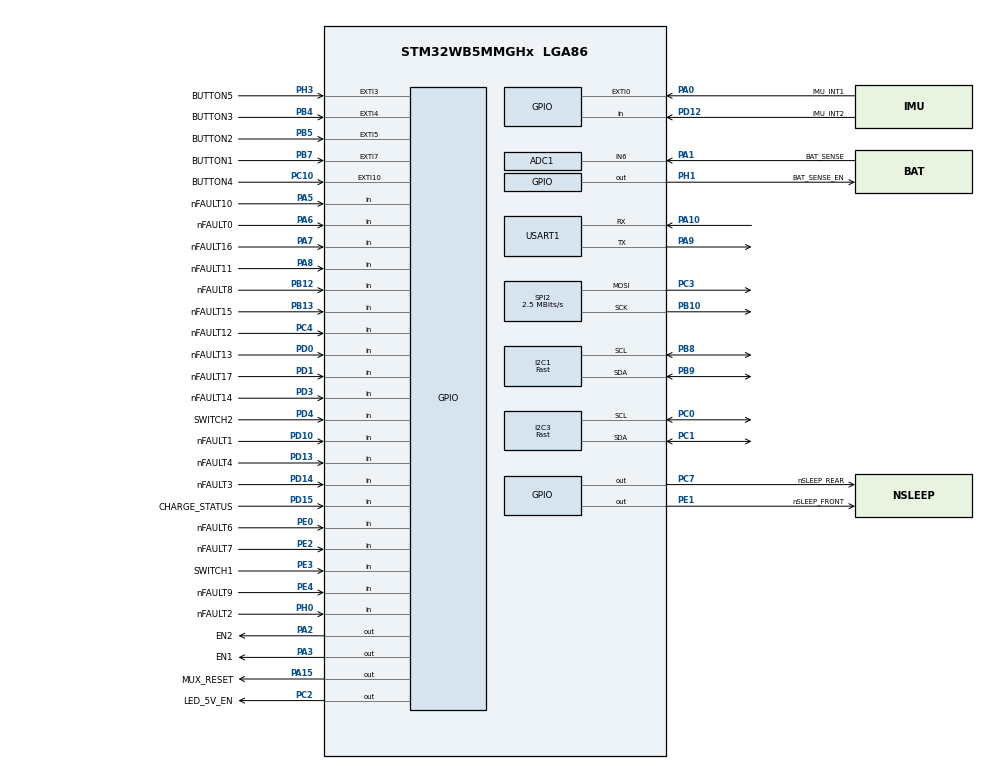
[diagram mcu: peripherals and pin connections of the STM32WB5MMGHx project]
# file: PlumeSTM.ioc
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ADC1.Channel-1\#ChannelRegularConversion=ADC_CHANNEL_6
ADC1.NbrOfConversionFlag=1
ADC1.OffsetNumber-1\#ChannelRegularConversion=ADC_OFFSET_NONE
ADC1.Rank-1\#ChannelRegularConversion=1
ADC1.SamplingTime-1\#ChannelRegularConversion=ADC_SAMPLETIME_47CYCLES_5
ADC1.master=1
Dma.Request0=SPI2_TX
Dma.Request1=USART1_RX
Dma.Request2=USART1_TX
Dma.SPI2_TX.0.Direction=DMA_MEMORY_TO_PERIPH
Dma.SPI2_TX.0.EventEnable=DISABLE
Dma.SPI2_TX.0.Instance=DMA1_Channel1
Dma.SPI2_TX.0.MemDataAlignment=DMA_MDATAALIGN_BYTE
Dma.SPI2_TX.0.MemInc=DMA_MINC_ENABLE
Dma.SPI2_TX.0.Mode=DMA_NORMAL
Dma.SPI2_TX.0.PeriphDataAlignment=DMA_PDATAALIGN_BYTE
Dma.SPI2_TX.0.PeriphInc=DMA_PINC_DISABLE
Dma.SPI2_TX.0.Polarity=HAL_DMAMUX_REQ_GEN_RISING
Dma.SPI2_TX.0.Priority=DMA_PRIORITY_LOW
Dma.SPI2_TX.0.RequestNumber=1
Dma.SPI2_TX.0.SignalID=NONE
Dma.SPI2_TX.0.SyncEnable=DISABLE
Dma.SPI2_TX.0.SyncPolarity=HAL_DMAMUX_SYNC_NO_EVENT
Dma.SPI2_TX.0.SyncRequestNumber=1
Dma.SPI2_TX.0.SyncSignalID=NONE
Dma.USART1_RX.1.Direction=DMA_PERIPH_TO_MEMORY
Dma.USART1_RX.1.EventEnable=DISABLE
Dma.USART1_RX.1.Instance=DMA1_Channel2
Dma.USART1_RX.1.MemDataAlignment=DMA_MDATAALIGN_BYTE
Dma.USART1_RX.1.MemInc=DMA_MINC_ENABLE
Dma.USART1_RX.1.Mode=DMA_CIRCULAR
Dma.USART1_RX.1.PeriphDataAlignment=DMA_PDATAALIGN_BYTE
Dma.USART1_RX.1.PeriphInc=DMA_PINC_DISABLE
Dma.USART1_RX.1.Polarity=HAL_DMAMUX_REQ_GEN_RISING
Dma.USART1_RX.1.Priority=DMA_PRIORITY_LOW
Dma.USART1_RX.1.RequestNumber=1
Dma.USART1_RX.1.SignalID=NONE
Dma.USART1_RX.1.SyncEnable=DISABLE
Dma.USART1_RX.1.SyncPolarity=HAL_DMAMUX_SYNC_NO_EVENT
Dma.USART1_RX.1.SyncRequestNumber=1
Dma.USART1_RX.1.SyncSignalID=NONE
Dma.USART1_TX.2.Direction=DMA_MEMORY_TO_PERIPH
Dma.USART1_TX.2.EventEnable=DISABLE
Dma.USART1_TX.2.Instance=DMA1_Channel3
Dma.USART1_TX.2.MemDataAlignment=DMA_MDATAALIGN_BYTE
Dma.USART1_TX.2.MemInc=DMA_MINC_ENABLE
Dma.USART1_TX.2.Mode=DMA_NORMAL
Dma.USART1_TX.2.PeriphDataAlignment=DMA_PDATAALIGN_BYTE
Dma.USART1_TX.2.PeriphInc=DMA_PINC_DISABLE
Dma.USART1_TX.2.Polarity=HAL_DMAMUX_REQ_GEN_RISING
Dma.USART1_TX.2.Priority=DMA_PRIORITY_LOW
Dma.USART1_TX.2.RequestNumber=1
Dma.USART1_TX.2.SignalID=NONE
Dma.USART1_TX.2.SyncEnable=DISABLE
Dma.USART1_TX.2.SyncPolarity=HAL_DMAMUX_SYNC_NO_EVENT
Dma.USART1_TX.2.SyncRequestNumber=1
Dma.USART1_TX.2.SyncSignalID=NONE
I2C1.I2C_Speed_Mode=I2C_Fast
I2C1.Timing=0x0070133F
I2C3.I2C_Speed_Mode=I2C_Fast
I2C3.Timing=0x0070133F
Mcu.Family=STM32WB
Mcu.Name=STM32WB5MMGHx
Mcu.Package=LGA86
NVIC.DMA1_Channel1_IRQn=true\:0\:0\:false\:false\:true\:false\:true\:true
NVIC.DMA1_Channel2_IRQn=true\:0\:0\:false\:false\:true\:false\:true\:true
NVIC.DMA1_Channel3_IRQn=true\:0\:0\:false\:false\:true\:false\:true\:true
NVIC.EXTI0_IRQn=true\:0\:0\:false\:false\:true\:true\:true\:true
NVIC.EXTI15_10_IRQn=true\:0\:0\:false\:false\:true\:true\:true\:true
NVIC.EXTI3_IRQn=true\:0\:0\:false\:false\:true\:true\:true\:true
NVIC.EXTI4_IRQn=true\:0\:0\:false\:false\:true\:true\:true\:true
NVIC.EXTI9_5_IRQn=true\:0\:0\:false\:false\:true\:true\:true\:true
NVIC.HSEM_IRQn=true\:0\:0\:false\:false\:true\:false\:true\:true
NVIC.IPCC_C1_RX_IRQn=true\:0\:0\:false\:false\:true\:true\:true\:true
NVIC.IPCC_C1_TX_IRQn=true\:0\:0\:false\:false\:true\:true\:true\:true
NVIC.PriorityGroup=NVIC_PRIORITYGROUP_4
NVIC.RTC_WKUP_IRQn=true\:0\:0\:false\:false\:true\:true\:true\:true
NVIC.SPI2_IRQn=true\:0\:0\:false\:false\:true\:true\:true\:true
NVIC.TIM1_UP_TIM16_IRQn=true\:0\:0\:false\:false\:true\:true\:true\:true
NVIC.TIM2_IRQn=true\:0\:0\:false\:false\:true\:true\:true\:true
NVIC.USART1_IRQn=true\:0\:0\:false\:false\:true\:true\:true\:true
PA0.GPIO_Label=IMU_INT1
PA0.GPIO_PuPd=GPIO_PULLDOWN
PA0.Signal=GPXTI0
PA1.GPIO_Label=BAT_SENSE
PA1.Signal=ADCx_IN6
PA10.GPIO_Speed=GPIO_SPEED_FREQ_HIGH
PA10.Mode=Asynchronous
PA10.Signal=USART1_RX
PA13.Mode=Trace_Asynchronous_SW
PA13.Signal=SYS_JTMS-SWDIO
PA14.Mode=Trace_Asynchronous_SW
PA14.Signal=SYS_JTCK-SWCLK
PA15.GPIO_Label=MUX_RESET
PA15.PinState=GPIO_PIN_SET
PA15.Signal=GPIO_Output
PA2.GPIO_Label=EN2
PA2.Signal=GPIO_Output
PA3.GPIO_Label=EN1
PA3.Signal=GPIO_Output
PA5.GPIO_Label=nFAULT10
PA5.GPIO_PuPd=GPIO_PULLUP
PA5.Signal=GPIO_Input
PA6.GPIO_Label=nFAULT0
PA6.GPIO_PuPd=GPIO_PULLUP
PA6.Signal=GPIO_Input
PA7.GPIO_Label=nFAULT16
PA7.GPIO_PuPd=GPIO_PULLUP
PA7.Signal=GPIO_Input
PA8.GPIO_Label=nFAULT11
PA8.GPIO_PuPd=GPIO_PULLUP
PA8.Signal=GPIO_Input
PA9.GPIO_Speed=GPIO_SPEED_FREQ_HIGH
PA9.Mode=Asynchronous
PA9.Signal=USART1_TX
PB10.Mode=TX_Only_Simplex_Unidirect_Master
PB10.Signal=SPI2_SCK
PB12.GPIO_Label=nFAULT8
PB12.GPIO_PuPd=GPIO_PULLUP
PB12.Signal=GPIO_Input
PB13.GPIO_Label=nFAULT15
PB13.GPIO_PuPd=GPIO_PULLUP
PB13.Signal=GPIO_Input
PB3.Mode=Trace_Asynchronous_SW
PB3.Signal=SYS_JTDO-SWO
PB4.GPIO_Label=BUTTON3
PB4.GPIO_ModeDefaultEXTI=GPIO_MODE_IT_FALLING
PB4.GPIO_PuPd=GPIO_PULLUP
PB4.Signal=GPXTI4
PB5.GPIO_Label=BUTTON2
PB5.GPIO_ModeDefaultEXTI=GPIO_MODE_IT_FALLING
PB5.GPIO_PuPd=GPIO_PULLUP
PB5.Signal=GPXTI5
PB7.GPIO_Label=BUTTON1
PB7.GPIO_ModeDefaultEXTI=GPIO_MODE_IT_FALLING
PB7.GPIO_PuPd=GPIO_PULLUP
PB7.Signal=GPXTI7
PB8.Mode=I2C
PB8.Signal=I2C1_SCL
PB9.Mode=I2C
PB9.Signal=I2C1_SDA
PC0.Mode=I2C
PC0.Signal=I2C3_SCL
PC1.Mode=I2C
PC1.Signal=I2C3_SDA
PC10.GPIO_Label=BUTTON4
PC10.GPIO_ModeDefaultEXTI=GPIO_MODE_IT_FALLING
PC10.GPIO_PuPd=GPIO_PULLUP
PC10.Signal=GPXTI10
PC2.GPIO_Label=LED_5V_EN
PC2.GPIO_Speed=GPIO_SPEED_FREQ_HIGH
PC2.Signal=GPIO_Output
PC3.GPIO_Speed=GPIO_SPEED_FREQ_VERY_HIGH
PC3.Mode=TX_Only_Simplex_Unidirect_Master
PC3.Signal=SPI2_MOSI
PC4.GPIO_Label=nFAULT12
PC4.GPIO_PuPd=GPIO_PULLUP
PC4.Signal=GPIO_Input
PC7.GPIO_Label=nSLEEP_REAR
PC7.Signal=GPIO_Output
PD0.GPIO_Label=nFAULT13
PD0.GPIO_PuPd=GPIO_PULLUP
PD0.Signal=GPIO_Input
PD1.GPIO_Label=nFAULT17
PD1.GPIO_PuPd=GPIO_PULLUP
PD1.Signal=GPIO_Input
PD10.GPIO_Label=nFAULT1
PD10.GPIO_PuPd=GPIO_PULLUP
PD10.Signal=GPIO_Input
PD12.GPIO_Label=IMU_INT2
PD12.Signal=GPIO_Input
PD13.GPIO_Label=nFAULT4
PD13.GPIO_PuPd=GPIO_PULLUP
PD13.Signal=GPIO_Input
PD14.GPIO_Label=nFAULT3
PD14.GPIO_PuPd=GPIO_PULLUP
PD14.Signal=GPIO_Input
PD15.GPIO_Label=CHARGE_STATUS
PD15.Signal=GPIO_Input
PD3.GPIO_Label=nFAULT14
PD3.GPIO_PuPd=GPIO_PULLUP
PD3.Signal=GPIO_Input
PD4.GPIO_Label=SWITCH2
PD4.Signal=GPIO_Input
PE0.GPIO_Label=nFAULT6
PE0.GPIO_PuPd=GPIO_PULLUP
PE0.Signal=GPIO_Input
PE1.GPIO_Label=nSLEEP_FRONT
PE1.Signal=GPIO_Output
PE2.GPIO_Label=nFAULT7
PE2.GPIO_PuPd=GPIO_PULLUP
PE2.Signal=GPIO_Input
PE3.GPIO_Label=SWITCH1
PE3.Signal=GPIO_Input
PE4.GPIO_Label=nFAULT9
PE4.GPIO_PuPd=GPIO_PULLUP
PE4.Signal=GPIO_Input
PH0.GPIO_Label=nFAULT2
PH0.GPIO_PuPd=GPIO_PULLUP
PH0.Signal=GPIO_Input
PH1.GPIO_Label=BAT_SENSE_EN
PH1.Signal=GPIO_Output
PH3-BOOT0.GPIO_Label=BUTTON5
PH3-BOOT0.GPIO_PuPd=GPIO_NOPULL
PH3-BOOT0.Signal=GPXTI3
ProjectManager.HeapSize=0x200
ProjectManager.StackSize=0x400
ProjectManager.TargetToolchain=STM32CubeIDE
RCC.ADCFreq_Value=48000000
RCC.AHB2CLKDivider=RCC_SYSCLK_DIV2
RCC.AHBFreq_Value=40000000
RCC.APB1Freq_Value=40000000
RCC.APB1TimFreq_Value=40000000
RCC.APB2Freq_Value=40000000
RCC.APB2TimFreq_Value=40000000
RCC.APB3Freq_Value=16000000
RCC.Cortex2_Div=SYSTICK_CLKSOURCE_HCLK_DIV8
RCC.CortexFreq_Value=40000000
RCC.HCLKFreq_Value=40000000
RCC.HSE_VALUE=32000000
RCC.HSI48_VALUE=48000000
RCC.HSI_VALUE=16000000
RCC.PLLN=30
RCC.PLLR=RCC_PLLR_DIV3
RCC.PLLSAI1N=24
RCC.SYSCLKFreq_VALUE=40000000
RCC.SYSCLKSource=RCC_SYSCLKSOURCE_PLLCLK
RCC.USBFreq_Value=48000000
RCC.VCOOutputFreq_Value=120000000
SH.ADCx_IN6.0=ADC1_IN6,IN6-Single-Ended
SPI2.BaudRatePrescaler=SPI_BAUDRATEPRESCALER_16
SPI2.CalculateBaudRate=2.5 MBits/s
SPI2.DataSize=SPI_DATASIZE_8BIT
SPI2.Direction=SPI_DIRECTION_2LINES
SPI2.Mode=SPI_MODE_MASTER
SPI2.VirtualType=VM_MASTER
TIM16.Period=10000
TIM16.Prescaler=39999
TIM2.Period=39999
TIM2.Prescaler=3999
USART1.VirtualMode-Asynchronous=VM_ASYNC
VP_HSEM_VS_HSEM.Mode=HSEM_Activate
VP_IPCC_VS_IPCC.Mode=IPCC_Activate
VP_MEMORYMAP_VS_MEMORYMAP.Mode=CurAppReg
VP_RCC_V_OSC32_IN.Mode=LSE-External-Clock-Source
VP_RCC_V_OSC_IN.Mode=HSE-External-Clock-Source
VP_RTC_VS_RTC_Activate.Mode=RTC_Enabled
VP_RTC_VS_RTC_WakeUp_intern.Mode=WakeUp
VP_SYS_V_PVD_IN.Mode=Mode_PVD_Int
VP_TIM16_VS_ClockSourceINT.Mode=Enable_Timer
VP_TIM2_VS_ClockSourceINT.Mode=Internal
board=custom

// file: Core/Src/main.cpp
/* USER CODE BEGIN Header */
/**
  ******************************************************************************
  * @file           : main.c
  * @brief          : Main program body
  ******************************************************************************
  * @attention
  *
  * Copyright (c) 2025 STMicroelectronics.
  * All rights reserved.
  *
  * This software is licensed under terms that can be found in the LICENSE file
  * in the root directory of this software component.
  * If no LICENSE file comes with this software, it is provided AS-IS.
  *
  ******************************************************************************
  */
/* USER CODE END Header */
#include "main.h"
#include "adc.h"
#include "dma.h"
#include "i2c.h"
#include "ipcc.h"
#include "memorymap.h"
#include "rtc.h"
#include "spi.h"
#include "tim.h"
#include "usart.h"
#include "gpio.h"

/* USER CODE BEGIN Includes */
#include "function.h"
/* USER CODE END Includes */

void SystemClock_Config(void);
void PeriphCommonClock_Config(void);

int main(void)
{

  /* MCU Configuration--------------------------------------------------------*/

  /* Reset of all peripherals, Initializes the Flash interface and the Systick. */
  HAL_Init();

  /* USER CODE BEGIN Init */
  CheckWakeupSource();
  /* USER CODE END Init */

  /* Configure the system clock */
  SystemClock_Config();

  /* Configure the peripherals common clocks */
  PeriphCommonClock_Config();

  /* IPCC initialisation */
  MX_IPCC_Init();

  /* Initialize all configured peripherals */
  MX_GPIO_Init();
  MX_DMA_Init();
  MX_ADC1_Init();
  MX_I2C1_Init();
  MX_I2C3_Init();
  MX_RTC_Init();
  MX_TIM2_Init();
  MX_SPI2_Init();
  MX_USART1_UART_Init();
  MX_TIM16_Init();
  /* USER CODE BEGIN 2 */
  App_Init(); // Initialize application logic, drivers, and states
  /* USER CODE END 2 */

  /* Infinite loop */
  /* USER CODE BEGIN WHILE */

  while (1)
  {
    App_Process();
    /* USER CODE END WHILE */

  }
}

void SystemClock_Config(void)
{
  RCC_OscInitTypeDef RCC_OscInitStruct = {0};
  RCC_ClkInitTypeDef RCC_ClkInitStruct = {0};

  /** Configure the main internal regulator output voltage
  */
  __HAL_PWR_VOLTAGESCALING_CONFIG(PWR_REGULATOR_VOLTAGE_SCALE1);

  /** Initializes the RCC Oscillators according to the specified parameters
  * in the RCC_OscInitTypeDef structure.
  */
  RCC_OscInitStruct.OscillatorType = RCC_OSCILLATORTYPE_HSI|RCC_OSCILLATORTYPE_LSI1
                              |RCC_OSCILLATORTYPE_HSE|RCC_OSCILLATORTYPE_MSI;
  RCC_OscInitStruct.HSEState = RCC_HSE_ON;
  RCC_OscInitStruct.HSIState = RCC_HSI_ON;
  RCC_OscInitStruct.MSIState = RCC_MSI_ON;
  RCC_OscInitStruct.HSICalibrationValue = RCC_HSICALIBRATION_DEFAULT;
  RCC_OscInitStruct.MSICalibrationValue = RCC_MSICALIBRATION_DEFAULT;
  RCC_OscInitStruct.MSIClockRange = RCC_MSIRANGE_6;
  RCC_OscInitStruct.LSIState = RCC_LSI_ON;
  RCC_OscInitStruct.PLL.PLLState = RCC_PLL_ON;
  RCC_OscInitStruct.PLL.PLLSource = RCC_PLLSOURCE_MSI;
  RCC_OscInitStruct.PLL.PLLM = RCC_PLLM_DIV1;
  RCC_OscInitStruct.PLL.PLLN = 30;
  RCC_OscInitStruct.PLL.PLLP = RCC_PLLP_DIV2;
  RCC_OscInitStruct.PLL.PLLR = RCC_PLLR_DIV3;
  RCC_OscInitStruct.PLL.PLLQ = RCC_PLLQ_DIV2;
  if (HAL_RCC_OscConfig(&RCC_OscInitStruct) != HAL_OK)
  {
    Error_Handler();
  }

  /** Configure the SYSCLKSource, HCLK, PCLK1 and PCLK2 clocks dividers
  */
  RCC_ClkInitStruct.ClockType = RCC_CLOCKTYPE_HCLK4|RCC_CLOCKTYPE_HCLK2
                              |RCC_CLOCKTYPE_HCLK|RCC_CLOCKTYPE_SYSCLK
                              |RCC_CLOCKTYPE_PCLK1|RCC_CLOCKTYPE_PCLK2;
  RCC_ClkInitStruct.SYSCLKSource = RCC_SYSCLKSOURCE_PLLCLK;
  RCC_ClkInitStruct.AHBCLKDivider = RCC_SYSCLK_DIV1;
  RCC_ClkInitStruct.APB1CLKDivider = RCC_HCLK_DIV1;
  RCC_ClkInitStruct.APB2CLKDivider = RCC_HCLK_DIV1;
  RCC_ClkInitStruct.AHBCLK2Divider = RCC_SYSCLK_DIV2;
  RCC_ClkInitStruct.AHBCLK4Divider = RCC_SYSCLK_DIV1;

  if (HAL_RCC_ClockConfig(&RCC_ClkInitStruct, FLASH_LATENCY_2) != HAL_OK)
  {
    Error_Handler();
  }
}

void PeriphCommonClock_Config(void)
{
  RCC_PeriphCLKInitTypeDef PeriphClkInitStruct = {0};

  /** Initializes the peripherals clock
  */
  PeriphClkInitStruct.PeriphClockSelection = RCC_PERIPHCLK_SMPS;
  PeriphClkInitStruct.SmpsClockSelection = RCC_SMPSCLKSOURCE_HSI;
  PeriphClkInitStruct.SmpsDivSelection = RCC_SMPSCLKDIV_RANGE1;

  if (HAL_RCCEx_PeriphCLKConfig(&PeriphClkInitStruct) != HAL_OK)
  {
    Error_Handler();
  }
}

/* USER CODE BEGIN 4 */
/**
  * @brief  EXTI line detection callback.
  * @param  GPIO_Pin: Specifies the port pin connected to corresponding EXTI line.
  * @retval None
  */
void HAL_GPIO_EXTI_Callback(uint16_t GPIO_Pin)
{
	if (GPIO_Pin == IMU_INT1_Pin)
  {
	  imu_interrupt_flag = true;
    __HAL_GPIO_EXTI_CLEAR_IT(GPIO_Pin);
  }
	else if (GPIO_Pin == BUTTON1_Pin) // Replace YOUR_BUTTON_PIN with the actual pin, e.g., GPIO_PIN_13
  {
	  wakeup_event = true; // Set flag for next loop iteration
	  __HAL_GPIO_EXTI_CLEAR_IT(GPIO_Pin);
	  button_ID = 1;
    ResetInactivityTimer();
  } else if (GPIO_Pin == BUTTON2_Pin) {
	  wakeup_event = true; // Set flag for next loop iteration
	  __HAL_GPIO_EXTI_CLEAR_IT(GPIO_Pin);
	  button_ID = 2;
    ResetInactivityTimer();
  }
  else if (GPIO_Pin == BUTTON3_Pin) {
	  wakeup_event = true; // Set flag for next loop iteration
	  __HAL_GPIO_EXTI_CLEAR_IT(GPIO_Pin);
	  button_ID = 3;
    ResetInactivityTimer();
  }
  else if (GPIO_Pin == BUTTON4_Pin) {
	  wakeup_event = true; // Set flag for next loop iteration
	  __HAL_GPIO_EXTI_CLEAR_IT(GPIO_Pin);
	  button_ID = 4;
    ResetInactivityTimer();
  }
  else if (GPIO_Pin == BUTTON5_Pin) {
    wakeup_event = true; // Set flag for next loop iteration
    __HAL_GPIO_EXTI_CLEAR_IT(GPIO_Pin);
    button_ID = 5;
    ResetInactivityTimer();
  }
}

#ifdef __cplusplus
  extern "C" {
  #endif
#ifdef USE_SWD
  int _write(int file, char *ptr, int len)
  {
    (void)file;
    int DataIdx;

    for (DataIdx = 0; DataIdx < len; DataIdx++)
    {
      ITM_SendChar(*ptr++);
    }
    return len;
  }
#endif
#ifdef USE_UART
  int _write(int file, char *ptr, int len)
  {
    (void)file; // Unused parameter
    HAL_StatusTypeDef status;
    status = HAL_UART_Transmit(&huart1, (uint8_t *)ptr, len, HAL_MAX_DELAY);

    if (status == HAL_OK) {
        return len;
    } else {
        return -1;
    }
}
#endif
#ifdef __cplusplus
  }
#endif

/**
  * @brief  Period elapsed callback in non-blocking mode
  * @param  htim: TIM handle
  * @retval None
  */
void HAL_TIM_PeriodElapsedCallback(TIM_HandleTypeDef *htim)
{
  if (htim->Instance == TIM1) { // Systick Timer
    HAL_IncTick();
  }
  else if (htim->Instance == TIM2) // Battery measurement timer
  {
    g_measure_battery_flag = 1;
  }
  else if (htim->Instance == TIM16) // Inactivity Timer
  {
    inactivity_timer_elapsed_flag = true;
    HAL_TIM_Base_Stop_IT(&htim16);
  }
}

/* USER CODE END 4 */

void Error_Handler(void)
{
  __disable_irq();
  while (1)
  {
  }
}
